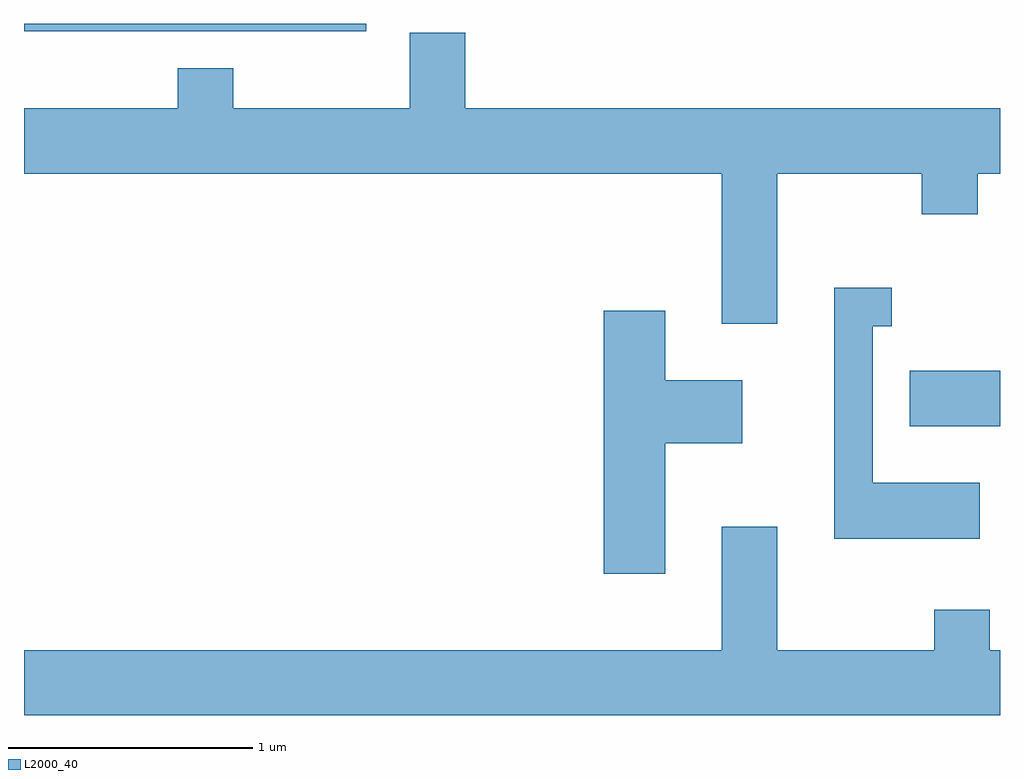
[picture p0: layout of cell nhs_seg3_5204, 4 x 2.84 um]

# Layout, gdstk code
import gdstk
lib = gdstk.Library(unit=1e-6, precision=1e-09)
def R(c, l, rs):  # rectangles x0, y0, x1, y1
    for r in rs: c.add(gdstk.rectangle(r[:2], r[2:], *l))
def P(c, l, *ps):  # polygons
    for p in ps: c.add(gdstk.Polygon(p, *l))
L2000_40 = (2000, 40)

nhs_seg3_5204 = lib.new_cell('nhs_seg3_5204')
R(nhs_seg3_5204, L2000_40, [(341.241,1198.241,341.611,1198.469), (337.611,1199.861,339.014,1199.892)])
P(nhs_seg3_5204, L2000_40, [(340.699,1199.276),(341.291,1199.276),(341.291,1199.111),(341.519,1199.111),(341.519,1199.276),(341.611,1199.276),(341.611,1199.544),(339.419,1199.544),(339.419,1199.854),(339.191,1199.854),(339.191,1199.544),(338.469,1199.544),(338.469,1199.709),(338.241,1199.709),(338.241,1199.544),(337.611,1199.544),(337.611,1199.276),(340.471,1199.276),(340.471,1198.661),(340.699,1198.661)],
  [(341.529,1198.009),(341.089,1198.009),(341.089,1198.651),(341.168,1198.651),(341.168,1198.809),(340.931,1198.809),(340.931,1197.781),(341.529,1197.781)],
  [(340.239,1198.171),(340.554,1198.171),(340.554,1198.429),(340.239,1198.429),(340.239,1198.714),(339.986,1198.714),(339.986,1197.636),(340.239,1197.636)],
  [(341.611,1197.324),(341.569,1197.324),(341.569,1197.489),(341.341,1197.489),(341.341,1197.324),(340.699,1197.324),(340.699,1197.829),(340.471,1197.829),(340.471,1197.324),(337.611,1197.324),(337.611,1197.056),(341.611,1197.056)])

lib.write_gds('nhs_seg3_5204.gds')
